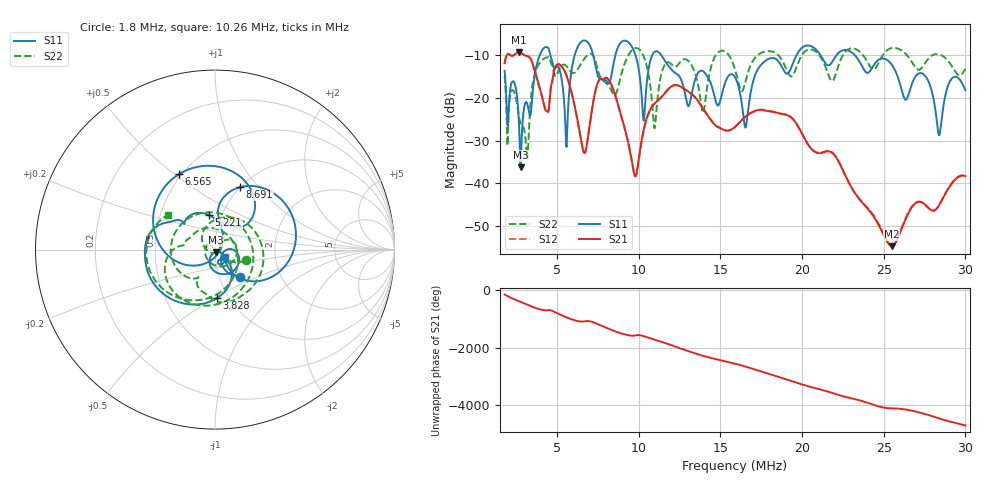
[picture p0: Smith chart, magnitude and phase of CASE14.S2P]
!Agilent Technologies,E5061B,MY49101568,A.02.00
!Date: Wed Mar 01 14:00:49 2023
!Data & Calibration Information:
!Freq	S11:SOLT2(OFF)	S21:SOLT2(OFF)	S12:SOLT2(OFF)	S22:SOLT2(OFF)
# Hz S dB R 50
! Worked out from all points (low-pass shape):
!   1155 points, 1.8 MHz to 30 MHz, reference 50 ohm
!   highest |S21| = -9.28 dB at 2.655 MHz (marker M1); lowest = -54.7 dB at 25.48 MHz (marker M2)
!   |S21| within 3 dB of the highest: start of sweep to 3.538 MHz; 4.968 MHz to 5.182 MHz (214.1 kHz wide, 4.22 % of centre)
!   lowest |S11| = -36.2 dB at 2.777 MHz (marker M3), VSWR 1.03, Z = 50.5 - j1.48 ohm
!   |S11| at or under -10 dB: start of sweep to 3.947 MHz; 11.39 MHz to 19.66 MHz (8.271 MHz wide, 53.3 % of centre); 23.24 MHz to end of sweep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
!   |S22| runs from -34.2 to -8.3 dB; largest |S21 - S12| = 0.0042
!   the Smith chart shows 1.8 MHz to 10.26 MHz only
!   S11 on the Smith chart (normalised r, x): 1.8 MHz: 1.26, -0.40; 3.828 MHz: 0.88, -0.51; 5.221 MHz: 0.87, +0.35; 6.565 MHz: 0.48, +0.52; 8.691 MHz: 1.00, +0.81; 10.26 MHz: 1.11, -0.10
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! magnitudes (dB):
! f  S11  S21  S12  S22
! 1.8 MHz  -13.7  -11.9  -11.9  -14.8
! 2.655 MHz  -24.1  -9.3  -9.3  -23.8
! 2.777 MHz  -36.2  -9.4  -9.4  -26.0
! 3.193 MHz  -21.4  -10.2  -10.2  -34.2
! 3.828 MHz  -11.4  -16.0  -16.1  -12.5
! 5.221 MHz  -14.2  -12.4  -12.3  -12.7
! 5.588 MHz  -31.5  -14.7  -14.7  -12.5
! 6.516 MHz  -6.7  -30.6  -30.7  -11.8
! 6.565 MHz  -6.6  -31.6  -31.6  -11.5
! 7.616 MHz  -15.4  -15.7  -15.7  -14.8
! 8.691 MHz  -8.5  -20.9  -21.0  -18.3
! 9.766 MHz  -9.5  -38.2  -38.1  -8.4
! 10.26 MHz  -23.3  -28.4  -28.8  -9.8
! 11.21 MHz  -9.2  -20.5  -20.5  -18.4
! 13.04 MHz  -21.9  -18.5  -18.5  -11.3
! 15.9 MHz  -15.1  -26.8  -26.8  -13.3
! 16.54 MHz  -26.9  -24.4  -24.4  -16.2
! 20.62 MHz  -8.0  -32.1  -32.1  -8.7
! 25.31 MHz  -11.4  -54.1  -54.1  -8.6
! 25.48 MHz  -12.1  -54.7  -54.6  -8.3
! 28.39 MHz  -28.7  -45.1  -45.1  -9.8
! 30 MHz  -18.2  -38.3  -38.2  -13.1
